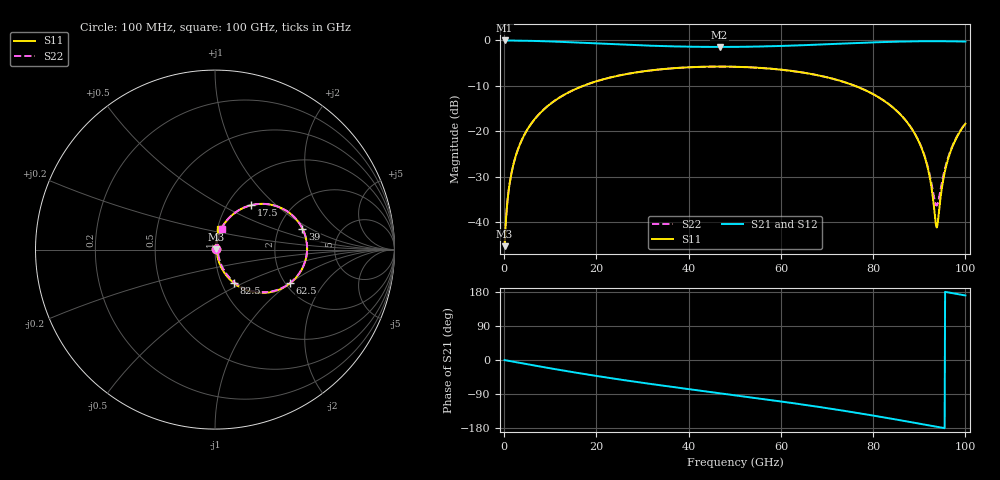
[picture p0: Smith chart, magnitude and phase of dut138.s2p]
! Touchstone file exported from HFSS 2026.1.0
!  File:  C:/ffzhzh/LocalFiles/Ansys_Project_Files/temp_train_RDL_138_1783499703_44152.aedt
!  Generated:  04:36:22 PM Jul  8, 2026
!  Design:  RDL
!  Project:  temp_train_RDL_138_1783499703_44152
! Variables:
!  h_bsmrdl = 2um
!  h_ox = 20um
!  h_rdl = 5um
!  h_sub = 80um
!  h_tmrdl = 2.22um
!  h_tsv = 80um
!  h_via = 3um
!  l_bsmrdl = 300um
!  l_sub = 1028um
!  l_tmrdl = 628um
!  m_sub = 200um
!  pitch = 42.01um
!  r_tsv = 6um
!  s_tmrdl = 10um
!  w_bsmrdl = 18um
!  w_sub = 500um
!  w_tmrdl = 21.67um
!  x_tsv_center1 = 638.835um
!  x_tsv_center2 = 956.835um
!  x_tsv_center3 = 1606.505um
!  x_tsv_center4 = 1924.505um
!  x_tsv_center5 = 2574.175um
!  x_tsv_center6 = 2892.175um
# GHz S MA R 50.000000
! Terminal data exported
! Port[1] = TM_RDL1_1_T1
! Port[2] = TM_RDL1_1_T2
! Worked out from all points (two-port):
!   1000 points, 100 MHz to 100 GHz, reference 50 ohm
!   highest |S21| = -0.04 dB at 100 MHz (marker M1); lowest = -1.5 dB at 46.7 GHz (marker M2)
!   |S21| within 3 dB of the highest: start of sweep to end of sweep
!   lowest |S11| = -45.3 dB at 100 MHz (marker M3), VSWR 1.01, Z = 50.5 + j0.24 ohm
!   |S11| at or under -10 dB: start of sweep to 17.23 GHz; 75.98 GHz to end of sweep
!   |S22| runs from -45.3 to -5.8 dB; largest |S21 - S12| = 1.8e-14
!   S11 on the Smith chart (normalised r, x): 100 MHz: 1.01, +0.00; 17.5 GHz: 1.29, +0.71; 39 GHz: 2.71, +0.85; 62.5 GHz: 2.12, -1.01; 82.5 GHz: 1.14, -0.45; 100 GHz: 1.03, +0.25
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0.1  0.005424 26.0  0.9951 -0.2  0.9951 -0.2  0.005424 26.0
! Gamma 0 0 0 0
! Port Impedance 50 0 50 0
0.9  0.02066 70.6  0.9936 -2.1  0.9936 -2.1  0.02066 70.6
1.6  0.03471 75.4  0.9928 -3.6  0.9928 -3.6  0.0347 75.4
4.3  0.08946 75.7  0.9886 -9.6  0.9886 -9.6  0.08945 75.7
9.2  0.1845 67.0  0.9739 -20.2  0.9739 -20.2  0.1845 67.0
16.8  0.3101 52.0  0.9391 -35.8  0.9391 -35.8  0.3101 52.1
17.5  0.3201 50.7  0.9356 -37.2  0.9356 -37.2  0.3201 50.7
33.4  0.476 22.6  0.8658 -65.9  0.8658 -65.9  0.4758 22.7
39  0.5011 13.5  0.8518 -75.2  0.8518 -75.2  0.501 13.6
46.7  0.5134 1.3  0.8445 -87.6  0.8445 -87.6  0.5132 1.5
50.1  0.5109 -4.0  0.846 -93.1  0.846 -93.1  0.5107 -3.8
62.5  0.4587 -24.2  0.8738 -113.6  0.8738 -113.6  0.4585 -23.8
66.7  0.4245 -31.4  0.8898 -121.0  0.8898 -121.0  0.4243 -30.9
82.5  0.2136 -60.6  0.9569 -151.8  0.9569 -151.8  0.2135 -59.1
83.4  0.1979 -62.2  0.9599 -153.7  0.9599 -153.7  0.1978 -60.7
87.4  0.1247 -69.2  0.9706 -162.3  0.9706 -162.3  0.1249 -66.5
90.3  0.06912 -72.2  0.9751 -168.6  0.9751 -168.6  0.06976 -67.1
92  0.03626 -69.2  0.9763 -172.3  0.9763 -172.3  0.0379 -59.7
93.8  0.008731 5.2  0.9765 -176.2  0.9765 -176.2  0.0152 5.8
95.3  0.03116 73.5  0.9756 -179.5  0.9756 -179.5  0.03395 63.0
96.3  0.05029 77.6  0.9746 178.3  0.9746 178.3  0.05223 70.5
100  0.121 75.5  0.9678 170.3  0.9678 170.3  0.122 72.3
